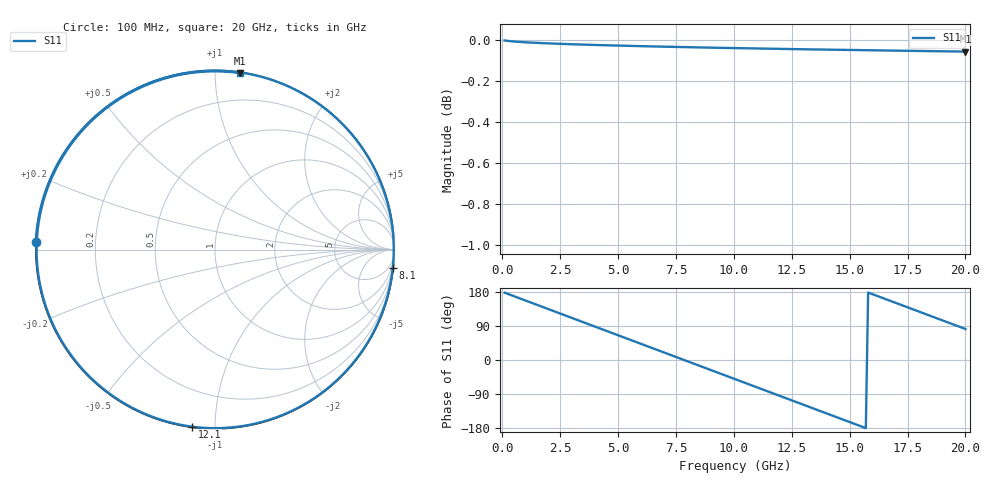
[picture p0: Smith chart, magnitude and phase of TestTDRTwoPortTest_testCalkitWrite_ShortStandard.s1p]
! File created by SignalIntegrity v1.1.13: Signal and Power Integrity Tools
! https://github.com/TeledyneLeCroy/SignalIntegrity
# MHz S MA R 50.0
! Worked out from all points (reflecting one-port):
!   200 points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, 100 MHz to 20 GHz, reference 50 ohm
!   lowest |S11| = -0.1 dB at 20 GHz (marker M1), VSWR 298.36, Z = 0.39 + j57.6 ohm
!   phase of S11 starts at 178 deg and turns -456 deg over the sweep
!   S11 on the Smith chart (normalised r, x): 100 MHz: 0.00, +0.02; 8.1 GHz: 1, -20; 12.1 GHz: 0.00, -0.88; 20 GHz: 0.01, +1.15
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100  0.9995 177.7
700  0.9988 163.9
1300  0.9983 150.1
2600  0.9976 120.3
3300  0.9973 104.2
3900  0.997 90.5
4500  0.9968 76.7
5100  0.9966 63.0
6400  0.9962 33.2
7000  0.996 19.4
7600  0.9959 5.7
8100  0.9957 -5.8
9100  0.9955 -28.7
10100  0.9952 -51.6
11100  0.995 -74.5
12100  0.9948 -97.4
12600  0.9947 -108.8
13200  0.9946 -122.5
13900  0.9944 -138.6
14500  0.9943 -152.3
15100  0.9942 -166.0
15700  0.9941 -179.8
16300  0.994 166.5
16900  0.9939 152.8
17600  0.9937 136.8
18800  0.9935 109.3
19400  0.9934 95.6
20000  0.9933 81.9
